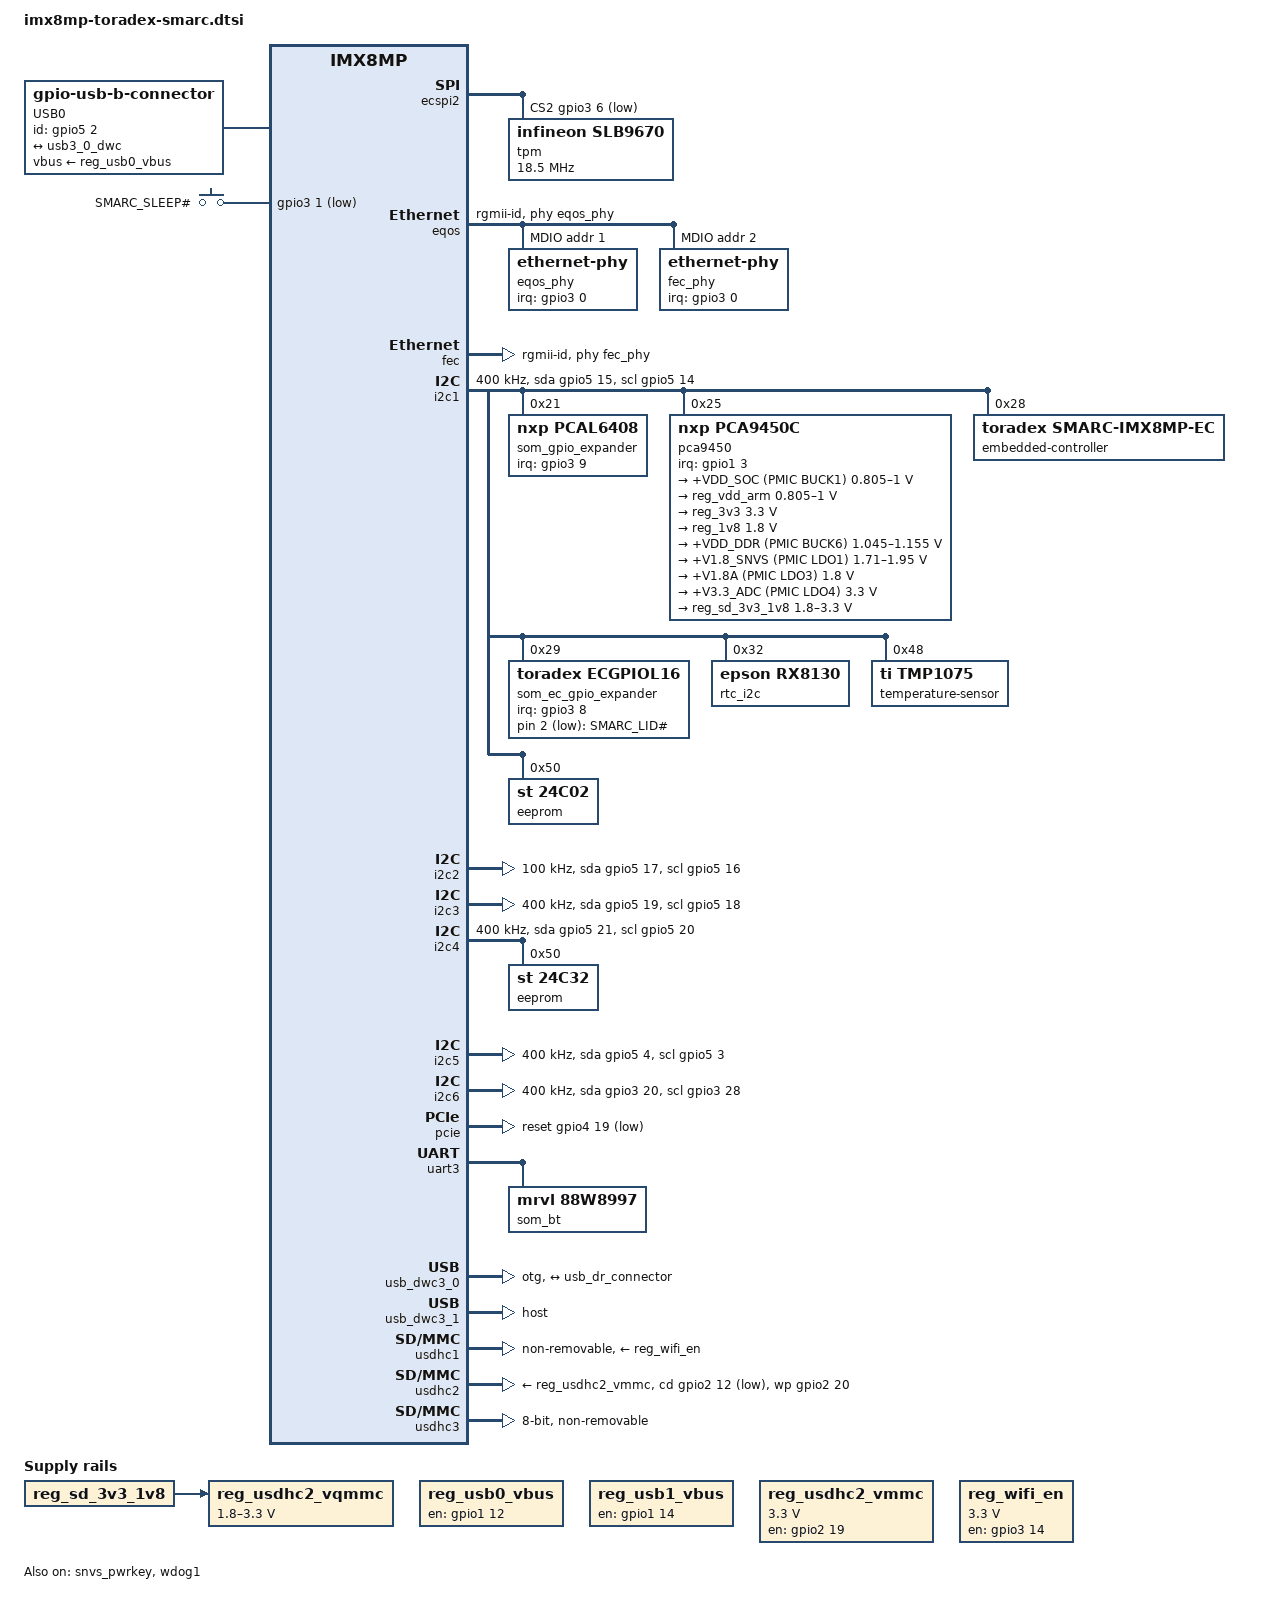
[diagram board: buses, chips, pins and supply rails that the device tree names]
// SPDX-License-Identifier: GPL-2.0-or-later OR MIT
/* Copyright (C) 2025 Toradex */

#include <dt-bindings/phy/phy-imx8-pcie.h>
#include <dt-bindings/net/ti-dp83867.h>
#include "imx8mp.dtsi"

/ {
	aliases {
		can0 = &flexcan2;
		can1 = &flexcan1;
		ethernet0 = &eqos;
		ethernet1 = &fec;
		mmc0 = &usdhc3;
		mmc1 = &usdhc2;
		mmc2 = &usdhc1;
		rtc0 = &rtc_i2c;
		rtc1 = &snvs_rtc;
		serial0 = &uart1;
		serial1 = &uart4;
		serial2 = &uart2;
		serial3 = &uart3;
	};

	chosen {
		stdout-path = &uart4;
	};

	connector {
		compatible = "gpio-usb-b-connector", "usb-b-connector";
		pinctrl-names = "default";
		pinctrl-0 = <&pinctrl_usb0_id>;
		id-gpios = <&gpio5 2 GPIO_ACTIVE_HIGH>;
		label = "USB0";
		self-powered;
		type = "micro";
		vbus-supply = <&reg_usb0_vbus>;

		port {
			usb_dr_connector: endpoint {
				remote-endpoint = <&usb3_0_dwc>;
			};
		};
	};

	gpio-keys {
		compatible = "gpio-keys";
		pinctrl-names = "default";
		pinctrl-0 = <&pinctrl_sleep>;

		smarc_key_sleep: key-sleep {
			gpios = <&gpio3 1 GPIO_ACTIVE_LOW>;
			label = "SMARC_SLEEP#";
			wakeup-source;
			linux,code = <KEY_SLEEP>;
		};

		smarc_switch_lid: switch-lid {
			gpios = <&som_ec_gpio_expander 2 GPIO_ACTIVE_LOW>;
			label = "SMARC_LID#";
			linux,code = <SW_LID>;
			linux,input-type = <EV_SW>;
		};
	};

	reg_usb0_vbus: regulator-usb0-vbus {
		compatible = "regulator-fixed";
		pinctrl-names = "default";
		pinctrl-0 = <&pinctrl_usb0_en_oc>;
		gpios = <&gpio1 12 GPIO_ACTIVE_HIGH>;
		enable-active-high;
		regulator-name = "USB0_EN_OC#";
	};

	reg_usb1_vbus: regulator-usb1-vbus {
		compatible = "regulator-fixed";
		pinctrl-names = "default";
		pinctrl-0 = <&pinctrl_usb1_en_oc>;
		gpios = <&gpio1 14 GPIO_ACTIVE_HIGH>;
		enable-active-high;
		regulator-name = "USB2_EN_OC#";
	};

	reg_usdhc2_vmmc: regulator-usdhc2-vmmc {
		compatible = "regulator-fixed";
		pinctrl-names = "default";
		pinctrl-0 = <&pinctrl_usdhc2_pwr_en>;
		gpios = <&gpio2 19 GPIO_ACTIVE_HIGH>;
		enable-active-high;
		off-on-delay-us = <100000>;
		regulator-max-microvolt = <3300000>;
		regulator-min-microvolt = <3300000>;
		regulator-name = "3V3_SD";
		startup-delay-us = <20000>;
	};

	reg_usdhc2_vqmmc: regulator-usdhc2-vqmmc {
		compatible = "regulator-gpio";
		pinctrl-names = "default";
		pinctrl-0 = <&pinctrl_usdhc2_vsel>;
		gpios = <&gpio1 4 GPIO_ACTIVE_HIGH>;
		regulator-max-microvolt = <3300000>;
		regulator-min-microvolt = <1800000>;
		states = <1800000 0x1>,
			 <3300000 0x0>;
		regulator-name = "PMIC_USDHC_VSELECT";
		vin-supply = <&reg_sd_3v3_1v8>;
	};

	reg_wifi_en: regulator-wifi-en {
		compatible = "regulator-fixed";
		pinctrl-names = "default";
		pinctrl-0 = <&pinctrl_wifi_pwr_en>;
		gpios = <&gpio3 14 GPIO_ACTIVE_HIGH>;
		enable-active-high;
		regulator-max-microvolt = <3300000>;
		regulator-min-microvolt = <3300000>;
		regulator-name = "CTRL_EN_WIFI";
		startup-delay-us = <2000>;
	};

	reserved-memory {
		linux,cma {
			size = <0 0x20000000>;
			alloc-ranges = <0 0x40000000 0 0x80000000>;
		};
	};

	sound_hdmi: sound-hdmi {
		compatible = "fsl,imx-audio-hdmi";
		model = "audio-hdmi";
		audio-cpu = <&aud2htx>;
		hdmi-out;
		status = "disabled";
	};
};

&A53_0 {
	cpu-supply = <&reg_vdd_arm>;
};

&A53_1 {
	cpu-supply = <&reg_vdd_arm>;
};

&A53_2 {
	cpu-supply = <&reg_vdd_arm>;
};

&A53_3 {
	cpu-supply = <&reg_vdd_arm>;
};

/* SMARC SPI0 */
&ecspi1 {
	pinctrl-names = "default";
	pinctrl-0 = <&pinctrl_ecspi1>;
	cs-gpios = <&gpio5 9 GPIO_ACTIVE_LOW>, <&gpio4 28 GPIO_ACTIVE_LOW>;
};

/* SMARC SPI1 */
&ecspi2 {
	pinctrl-names = "default";
	pinctrl-0 = <&pinctrl_ecspi2>, <&pinctrl_tpm_cs>;
	cs-gpios = <&gpio5 13 GPIO_ACTIVE_LOW>,
		   <&gpio4 3 GPIO_ACTIVE_LOW>,
		   <&gpio3 6 GPIO_ACTIVE_LOW>;
	status = "okay";

	tpm@2 {
		compatible = "infineon,slb9670", "tcg,tpm_tis-spi";
		reg = <2>;
		spi-max-frequency = <18500000>;
	};
};

/* SMARC GBE0 */
&eqos {
	pinctrl-names = "default";
	pinctrl-0 = <&pinctrl_eqos>,
		    <&pinctrl_eth_mdio>,
		    <&pinctrl_eqos_1588_event>;
	phy-handle = <&eqos_phy>;
	phy-mode = "rgmii-id";
	snps,force_thresh_dma_mode;
	snps,mtl-rx-config = <&mtl_rx_setup>;
	snps,mtl-tx-config = <&mtl_tx_setup>;

	mdio: mdio {
		compatible = "snps,dwmac-mdio";
		#address-cells = <1>;
		#size-cells = <0>;
	};

	mtl_rx_setup: rx-queues-config {
		snps,rx-queues-to-use = <5>;

		queue0 {
			snps,dcb-algorithm;
			snps,priority = <0x1>;
			snps,map-to-dma-channel = <0>;
		};

		queue1 {
			snps,dcb-algorithm;
			snps,priority = <0x2>;
			snps,map-to-dma-channel = <1>;
		};

		queue2 {
			snps,dcb-algorithm;
			snps,priority = <0x4>;
			snps,map-to-dma-channel = <2>;
		};

		queue3 {
			snps,dcb-algorithm;
			snps,priority = <0x8>;
			snps,map-to-dma-channel = <3>;
		};

		queue4 {
			snps,dcb-algorithm;
			snps,priority = <0xf0>;
			snps,map-to-dma-channel = <4>;
		};
	};

	mtl_tx_setup: tx-queues-config {
		snps,tx-queues-to-use = <5>;

		queue0 {
			snps,dcb-algorithm;
			snps,priority = <0x1>;
		};

		queue1 {
			snps,dcb-algorithm;
			snps,priority = <0x2>;
		};

		queue2 {
			snps,dcb-algorithm;
			snps,priority = <0x4>;
		};

		queue3 {
			snps,dcb-algorithm;
			snps,priority = <0x8>;
		};

		queue4 {
			snps,dcb-algorithm;
			snps,priority = <0xf0>;
		};
	};
};

/* SMARC GBE1 */
&fec {
	pinctrl-names = "default";
	pinctrl-0 = <&pinctrl_fec>, <&pinctrl_fec_1588_event>;
	phy-handle = <&fec_phy>;
	phy-mode = "rgmii-id";
	fsl,magic-packet;
};

/* SMARC CAN1 */
&flexcan1 {
	pinctrl-names = "default";
	pinctrl-0 = <&pinctrl_flexcan1>;
};

/* SMARC CAN0 */
&flexcan2 {
	pinctrl-names = "default";
	pinctrl-0 = <&pinctrl_flexcan2>;
};

&gpio1 {
	gpio-line-names = "SMARC_GPIO7", /* 0 */
			  "SMARC_GPIO8",
			  "",
			  "PMIC_INT#",
			  "PMIC_USDHC_VSELECT",
			  "SMARC_GPIO9",
			  "SMARC_GPIO10",
			  "SMARC_GPIO11",
			  "SMARC_GPIO12",
			  "",
			  "SMARC_GPIO5", /* 10 */
			  "",
			  "SMARC_USB0_EN_OC#",
			  "SMARC_GPIO13",
			  "SMARC_USB2_EN_OC#";
};

&gpio2 {
	gpio-line-names = "", /* 0 */
			  "",
			  "",
			  "",
			  "",
			  "",
			  "",
			  "",
			  "",
			  "",
			  "", /* 10 */
			  "",
			  "SMARC_SDIO_CD#",
			  "",
			  "",
			  "",
			  "",
			  "",
			  "",
			  "SMARC_SDIO_PWR_EN",
			  "SMARC_SDIO_WP"; /* 20 */
};

&gpio3 {
	pinctrl-names = "default";
	pinctrl-0 = <&pinctrl_lvds_dsi_sel>;
	gpio-line-names = "ETH_0_INT#", /* 0 */
			  "SLEEP#",
			  "",
			  "",
			  "",
			  "",
			  "TPM_CS#",
			  "LVDS_DSI_SEL",
			  "MCU_INT#",
			  "GPIO_EX_INT#",
			  "", /* 10 */
			  "",
			  "",
			  "",
			  "",
			  "",
			  "SMARC_SMB_ALERT#",
			  "",
			  "",
			  "",
			  "SMARC_I2C_PM_DAT", /* 20 */
			  "",
			  "",
			  "",
			  "",
			  "",
			  "",
			  "",
			  "SMARC_I2C_PM_CK";
};

&gpio4 {
	gpio-line-names = "SMARC_PCIE_WAKE#", /* 0 */
			  "",
			  "",
			  "SMARC_SPI1_CS1#",
			  "",
			  "",
			  "",
			  "",
			  "",
			  "",
			  "", /* 10 */
			  "",
			  "",
			  "",
			  "",
			  "",
			  "",
			  "",
			  "SMARC_GPIO4",
			  "SMARC_PCIE_A_RST#",
			  "", /* 20 */
			  "",
			  "",
			  "",
			  "",
			  "",
			  "",
			  "",
			  "SMARC_SPI0_CS1#",
			  "SMARC_GPIO6";
};

&gpio5 {
	gpio-line-names = "", /* 0 */
			  "",
			  "SMARC_USB0_OTG_ID",
			  "SMARC_I2C_CAM1_CK",
			  "SMARC_I2C_CAM1_DAT",
			  "",
			  "",
			  "",
			  "",
			  "SMARC_SPI0_CS0#",
			  "", /* 10 */
			  "",
			  "",
			  "SMARC_SPI1_CS0#",
			  "CTRL_I2C_SCL",
			  "CTRL_I2C_SDA",
			  "SMARC_I2C_LCD_CK",
			  "SMARC_I2C_LCD_DAT",
			  "SMARC_I2C_CAM0_CK",
			  "SMARC_I2C_CAM0_DAT",
			  "SMARC_I2C_GP_CK", /* 20 */
			  "SMARC_I2C_GP_DAT";
};

/* SMARC HDMI */
&hdmi_tx {
	pinctrl-names = "default";
	pinctrl-0 = <&pinctrl_hdmi>;
};

/* On-module I2C */
&i2c1 {
	pinctrl-names = "default", "gpio";
	pinctrl-0 = <&pinctrl_i2c1>;
	pinctrl-1 = <&pinctrl_i2c1_gpio>;
	clock-frequency = <400000>;
	scl-gpios = <&gpio5 14 (GPIO_ACTIVE_HIGH | GPIO_OPEN_DRAIN)>;
	sda-gpios = <&gpio5 15 (GPIO_ACTIVE_HIGH | GPIO_OPEN_DRAIN)>;
	single-master;
	status = "okay";

	som_gpio_expander: gpio@21 {
		compatible = "nxp,pcal6408";
		reg = <0x21>;
		pinctrl-names = "default";
		pinctrl-0 = <&pinctrl_pcal6408>;
		#interrupt-cells = <2>;
		interrupt-controller;
		interrupt-parent = <&gpio3>;
		interrupts = <9 IRQ_TYPE_LEVEL_LOW>;
		#gpio-cells = <2>;
		gpio-controller;
		gpio-line-names =
			"SMARC_GPIO0",
			"SMARC_GPIO1",
			"SMARC_GPIO2",
			"SMARC_GPIO3",
			"SMARC_LCD0_VDD_EN",
			"SMARC_LCD0_BKLT_EN",
			"SMARC_LCD1_VDD_EN",
			"SMARC_LCD1_BKLT_EN";
	};

	pca9450: pmic@25 {
		compatible = "nxp,pca9450c";
		reg = <0x25>;
		pinctrl-names = "default";
		pinctrl-0 = <&pinctrl_pmic>;
		interrupt-parent = <&gpio1>;
		interrupts = <3 IRQ_TYPE_LEVEL_LOW>;

		regulators {
			BUCK1 {
				regulator-always-on;
				regulator-boot-on;
				regulator-max-microvolt = <1000000>;
				regulator-min-microvolt = <805000>;
				regulator-name = "+VDD_SOC (PMIC BUCK1)";
				regulator-ramp-delay = <3125>;
			};

			reg_vdd_arm: BUCK2 {
				regulator-always-on;
				regulator-boot-on;
				regulator-max-microvolt = <1000000>;
				regulator-min-microvolt = <805000>;
				regulator-name = "+VDD_ARM (PMIC BUCK2)";
				regulator-ramp-delay = <3125>;
				nxp,dvs-run-voltage = <950000>;
				nxp,dvs-standby-voltage = <850000>;
			};

			reg_3v3: BUCK4 {
				regulator-always-on;
				regulator-boot-on;
				regulator-max-microvolt = <3300000>;
				regulator-min-microvolt = <3300000>;
				regulator-name = "+V3.3 (PMIC BUCK4)";
			};

			reg_1v8: BUCK5 {
				regulator-always-on;
				regulator-boot-on;
				regulator-max-microvolt = <1800000>;
				regulator-min-microvolt = <1800000>;
				regulator-name = "+V1.8 (PMIC BUCK5)";
			};

			BUCK6 {
				regulator-always-on;
				regulator-boot-on;
				regulator-max-microvolt = <1155000>;
				regulator-min-microvolt = <1045000>;
				regulator-name = "+VDD_DDR (PMIC BUCK6)";
			};

			LDO1 {
				regulator-always-on;
				regulator-boot-on;
				regulator-max-microvolt = <1950000>;
				regulator-min-microvolt = <1710000>;
				regulator-name = "+V1.8_SNVS (PMIC LDO1)";
			};

			LDO3 {
				regulator-always-on;
				regulator-boot-on;
				regulator-max-microvolt = <1800000>;
				regulator-min-microvolt = <1800000>;
				regulator-name = "+V1.8A (PMIC LDO3)";
			};

			LDO4 {
				regulator-always-on;
				regulator-boot-on;
				regulator-max-microvolt = <3300000>;
				regulator-min-microvolt = <3300000>;
				regulator-name = "+V3.3_ADC (PMIC LDO4)";
			};

			reg_sd_3v3_1v8: LDO5 {
				regulator-max-microvolt = <3300000>;
				regulator-min-microvolt = <1800000>;
				regulator-name = "+V3.3_1.8_SD (PMIC LDO5)";
			};
		};
	};

	embedded-controller@28 {
		compatible = "toradex,smarc-imx8mp-ec", "toradex,smarc-ec";
		reg = <0x28>;
	};

	som_ec_gpio_expander: gpio@29 {
		compatible = "toradex,ecgpiol16", "nxp,pcal6416";
		reg = <0x29>;
		pinctrl-names = "default";
		pinctrl-0 = <&pinctrl_mcu_int>;
		#interrupt-cells = <2>;
		interrupt-controller;
		interrupt-parent = <&gpio3>;
		interrupts = <8 IRQ_TYPE_LEVEL_LOW>;
		#gpio-cells = <2>;
		gpio-controller;
		gpio-line-names =
			"SMARC_CHARGER_PRSNT#",
			"SMARC_CHARGING#",
			"SMARC_LID#",
			"SMARC_BATLOW#";
	};

	rtc_i2c: rtc@32 {
		compatible = "epson,rx8130";
		reg = <0x32>;
	};

	temperature-sensor@48 {
		compatible = "ti,tmp1075";
		reg = <0x48>;
	};

	eeprom@50 {
		compatible = "st,24c02", "atmel,24c02";
		reg = <0x50>;
		pagesize = <16>;
	};
};

/* SMARC I2C_LCD */
&i2c2 {
	pinctrl-names = "default", "gpio";
	pinctrl-0 = <&pinctrl_i2c2>;
	pinctrl-1 = <&pinctrl_i2c2_gpio>;
	clock-frequency = <100000>;
	scl-gpios = <&gpio5 16 (GPIO_ACTIVE_HIGH | GPIO_OPEN_DRAIN)>;
	sda-gpios = <&gpio5 17 (GPIO_ACTIVE_HIGH | GPIO_OPEN_DRAIN)>;
	single-master;
};

/* SMARC I2C_CAM0 */
&i2c3 {
	pinctrl-names = "default", "gpio";
	pinctrl-0 = <&pinctrl_i2c3>;
	pinctrl-1 = <&pinctrl_i2c3_gpio>;
	clock-frequency = <400000>;
	scl-gpios = <&gpio5 18 (GPIO_ACTIVE_HIGH | GPIO_OPEN_DRAIN)>;
	sda-gpios = <&gpio5 19 (GPIO_ACTIVE_HIGH | GPIO_OPEN_DRAIN)>;
	single-master;
};

/* SMARC I2C_GP */
&i2c4 {
	pinctrl-names = "default", "gpio";
	pinctrl-0 = <&pinctrl_i2c4>;
	pinctrl-1 = <&pinctrl_i2c4_gpio>;
	clock-frequency = <400000>;
	scl-gpios = <&gpio5 20 (GPIO_ACTIVE_HIGH | GPIO_OPEN_DRAIN)>;
	sda-gpios = <&gpio5 21 (GPIO_ACTIVE_HIGH | GPIO_OPEN_DRAIN)>;
	single-master;
	status = "okay";

	eeprom@50 {
		compatible = "st,24c32", "atmel,24c32";
		reg = <0x50>;
		pagesize = <32>;
	};
};

/* SMARC I2C_CAM1 */
&i2c5 {
	pinctrl-names = "default", "gpio";
	pinctrl-0 = <&pinctrl_i2c5>;
	pinctrl-1 = <&pinctrl_i2c5_gpio>;
	clock-frequency = <400000>;
	scl-gpios = <&gpio5 3 (GPIO_ACTIVE_HIGH | GPIO_OPEN_DRAIN)>;
	sda-gpios = <&gpio5 4 (GPIO_ACTIVE_HIGH | GPIO_OPEN_DRAIN)>;
	single-master;
};

/* SMARC I2C_PM */
&i2c6 {
	pinctrl-names = "default", "gpio";
	pinctrl-0 = <&pinctrl_i2c6>;
	pinctrl-1 = <&pinctrl_i2c6_gpio>;
	clock-frequency = <400000>;
	scl-gpios = <&gpio3 28 (GPIO_ACTIVE_HIGH | GPIO_OPEN_DRAIN)>;
	sda-gpios = <&gpio3 20 (GPIO_ACTIVE_HIGH | GPIO_OPEN_DRAIN)>;
	single-master;
};

&mdio {
	eqos_phy: ethernet-phy@1 {
		reg = <1>;
		interrupt-parent = <&gpio3>;
		interrupts = <0 IRQ_TYPE_LEVEL_LOW>;
		ti,rx-internal-delay = <DP83867_RGMIIDCTL_2_00_NS>;
		ti,tx-internal-delay = <DP83867_RGMIIDCTL_2_00_NS>;
	};

	fec_phy: ethernet-phy@2 {
		reg = <2>;
		interrupt-parent = <&gpio3>;
		interrupts = <0 IRQ_TYPE_LEVEL_LOW>;
		ti,rx-internal-delay = <DP83867_RGMIIDCTL_2_00_NS>;
		ti,tx-internal-delay = <DP83867_RGMIIDCTL_2_00_NS>;
	};
};

/* SMARC PCIE_A */
&pcie {
	pinctrl-names = "default";
	pinctrl-0 = <&pinctrl_pcie>;
	reset-gpios = <&gpio4 19 GPIO_ACTIVE_LOW>;
};

&pcie_phy {
	clocks = <&hsio_blk_ctrl>;
	clock-names = "ref";
	fsl,clkreq-unsupported;
	fsl,refclk-pad-mode = <IMX8_PCIE_REFCLK_PAD_OUTPUT>;
};

/* SMARC LCD1_BKLT_PWM */
&pwm1 {
	pinctrl-names = "default";
	pinctrl-0 = <&pinctrl_lcd1_bklt_pwm1>;
};

/* SMARC LCD0_BKLT_PWM */
&pwm2 {
	pinctrl-names = "default";
	pinctrl-0 = <&pinctrl_lcd0_bklt_pwm2>;
};

/* SMARC GPIO5 as PWM */
&pwm3 {
	pinctrl-names = "default";
	pinctrl-0 = <&pinctrl_gpio5_pwm>;
};

&snvs_pwrkey {
	status = "okay";
};

/* SMARC SER0 */
&uart1 {
	pinctrl-names = "default";
	pinctrl-0 = <&pinctrl_uart1>;
	uart-has-rtscts;
};

/* SMARC SER2 */
&uart2 {
	pinctrl-names = "default";
	pinctrl-0 = <&pinctrl_uart2>;
	uart-has-rtscts;
};

/* On-module Bluetooth, optional SMARC SER3 */
&uart3 {
	pinctrl-names = "default";
	pinctrl-0 = <&pinctrl_bt_uart>;
	uart-has-rtscts;
	status = "okay";

	som_bt: bluetooth {
		compatible = "mrvl,88w8997";
		max-speed = <921600>;
	};
};

/* SMARC SER1, used as the Linux Console */
&uart4 {
	pinctrl-names = "default";
	pinctrl-0 = <&pinctrl_uart4>;
};

/* SMARC USB0 */
&usb3_0 {
	fsl,disable-port-power-control;
};

/* SMARC USB1..4 */
&usb3_1 {
	fsl,disable-port-power-control;
};

&usb3_phy1 {
	vbus-supply = <&reg_usb1_vbus>;
};

&usb_dwc3_0 {
	adp-disable;
	dr_mode = "otg";
	hnp-disable;
	maximum-speed = "high-speed";
	srp-disable;
	usb-role-switch;

	port {
		usb3_0_dwc: endpoint {
			remote-endpoint = <&usb_dr_connector>;
		};
	};
};

&usb_dwc3_1 {
	dr_mode = "host";
};

/* On-module Wi-Fi */
&usdhc1 {
	pinctrl-names = "default", "state_100mhz", "state_200mhz";
	pinctrl-0 = <&pinctrl_usdhc1>;
	pinctrl-1 = <&pinctrl_usdhc1_100mhz>;
	pinctrl-2 = <&pinctrl_usdhc1_200mhz>;
	keep-power-in-suspend;
	non-removable;
	vmmc-supply = <&reg_wifi_en>;
	status = "okay";
};

/* SMARC SDIO */
&usdhc2 {
	pinctrl-names = "default", "state_100mhz", "state_200mhz", "sleep";
	pinctrl-0 = <&pinctrl_usdhc2>,
		    <&pinctrl_usdhc2_cd>,
		    <&pinctrl_usdhc2_wp>;
	pinctrl-1 = <&pinctrl_usdhc2_100mhz>,
		    <&pinctrl_usdhc2_cd>,
		    <&pinctrl_usdhc2_wp>;
	pinctrl-2 = <&pinctrl_usdhc2_200mhz>,
		    <&pinctrl_usdhc2_cd>,
		    <&pinctrl_usdhc2_wp>;
	pinctrl-3 = <&pinctrl_usdhc2_sleep>,
		    <&pinctrl_usdhc2_cd_sleep>,
		    <&pinctrl_usdhc2_wp>;
	assigned-clocks = <&clk IMX8MP_CLK_USDHC2>;
	assigned-clock-rates = <400000000>;
	cd-gpios = <&gpio2 12 GPIO_ACTIVE_LOW>;
	vmmc-supply = <&reg_usdhc2_vmmc>;
	vqmmc-supply = <&reg_usdhc2_vqmmc>;
	wp-gpios = <&gpio2 20 GPIO_ACTIVE_HIGH>;
};

/* On-module eMMC */
&usdhc3 {
	pinctrl-names = "default", "state_100mhz", "state_200mhz";
	pinctrl-0 = <&pinctrl_usdhc3>;
	pinctrl-1 = <&pinctrl_usdhc3_100mhz>;
	pinctrl-2 = <&pinctrl_usdhc3_200mhz>;
	assigned-clocks = <&clk IMX8MP_CLK_USDHC3_ROOT>;
	assigned-clock-rates = <400000000>;
	bus-width = <8>;
	non-removable;
	status = "okay";
};

&wdog1 {
	pinctrl-names = "default";
	pinctrl-0 = <&pinctrl_wdog>;
	fsl,ext-reset-output;
	status = "okay";
};

&iomuxc {
	/* On-module Bluetooth */
	pinctrl_bt_uart: btuartgrp {
		fsl,pins = <MX8MP_IOMUXC_SD1_DATA6__UART3_DCE_TX	0x1c4>, /* WiFi_UART_TXD */
			   <MX8MP_IOMUXC_SD1_DATA7__UART3_DCE_RX	0x1c4>, /* WiFi_UART_RXD */
			   <MX8MP_IOMUXC_SD1_STROBE__UART3_DCE_CTS	0x1c4>, /* WiFi_UART_RTS */
			   <MX8MP_IOMUXC_SD1_RESET_B__UART3_DCE_RTS	0x1c4>; /* WiFi_UART_CTS */
	};

	/* SMARC CAM_MCK */
	pinctrl_csi_mclk: csimclkgrp {
		fsl,pins = <MX8MP_IOMUXC_GPIO1_IO15__CCM_CLKO2	0x16>; /* SMARC S6 - CAM_MCK  */
	};

	/* SMARC SPI0 */
	pinctrl_ecspi1: ecspi1grp {
		fsl,pins = <MX8MP_IOMUXC_ECSPI1_MISO__ECSPI1_MISO	0x1c4>, /* SMARC P45 - SPI0_DIN */
			   <MX8MP_IOMUXC_ECSPI1_MOSI__ECSPI1_MOSI	0x4>,   /* SMARC P46 - SPI0_DO */
			   <MX8MP_IOMUXC_ECSPI1_SCLK__ECSPI1_SCLK	0x4>,   /* SMARC P44 - SPI0_CK */
			   <MX8MP_IOMUXC_ECSPI1_SS0__GPIO5_IO09		0x1c4>, /* SMARC P43 - SPI0_CS0# */
			   <MX8MP_IOMUXC_SAI3_RXFS__GPIO4_IO28		0x1c4>; /* SMARC P31 - SPI0_CS1# */
	};

	/* SMARC SPI1 */
	pinctrl_ecspi2: ecspi2grp {
		fsl,pins = <MX8MP_IOMUXC_ECSPI2_MISO__ECSPI2_MISO	0x1c4>, /* SMARC P56 - SPI1_DIN */
			   <MX8MP_IOMUXC_ECSPI2_MOSI__ECSPI2_MOSI	0x4>,   /* SMARC P57 - SPI1_DO */
			   <MX8MP_IOMUXC_ECSPI2_SCLK__ECSPI2_SCLK	0x4>,   /* SMARC P58 - SPI1_CK */
			   <MX8MP_IOMUXC_ECSPI2_SS0__GPIO5_IO13		0x1c4>, /* SMARC P54 - SPI1_CS0# */
			   <MX8MP_IOMUXC_SAI1_RXD1__GPIO4_IO03		0x1c4>; /* SMARC P55 - SPI1_CS1# */
	};

	/* ETH_0 RGMII (On-module PHY) */
	pinctrl_eqos: eqosgrp {
		fsl,pins = <MX8MP_IOMUXC_ENET_RD0__ENET_QOS_RGMII_RD0			0x90>, /* ETH0_RGMII_RXD0 */
			   <MX8MP_IOMUXC_ENET_RD1__ENET_QOS_RGMII_RD1			0x90>, /* ETH0_RGMII_RXD1 */
			   <MX8MP_IOMUXC_ENET_RD2__ENET_QOS_RGMII_RD2			0x90>, /* ETH0_RGMII_RXD2 */
			   <MX8MP_IOMUXC_ENET_RD3__ENET_QOS_RGMII_RD3			0x90>, /* ETH0_RGMII_RXD3 */
			   <MX8MP_IOMUXC_ENET_RXC__CCM_ENET_QOS_CLOCK_GENERATE_RX_CLK	0x90>, /* ETH0_RGMII_RXC */
			   <MX8MP_IOMUXC_ENET_RX_CTL__ENET_QOS_RGMII_RX_CTL		0x90>, /* ETH0_RGMII_RX_CTL */
			   <MX8MP_IOMUXC_ENET_TD0__ENET_QOS_RGMII_TD0			0x16>, /* ETH0_RGMII_TXD0 */
			   <MX8MP_IOMUXC_ENET_TD1__ENET_QOS_RGMII_TD1			0x16>, /* ETH0_RGMII_TXD1 */
			   <MX8MP_IOMUXC_ENET_TD2__ENET_QOS_RGMII_TD2			0x16>, /* ETH0_RGMII_TXD2 */
			   <MX8MP_IOMUXC_ENET_TD3__ENET_QOS_RGMII_TD3			0x16>, /* ETH0_RGMII_TXD3 */
			   <MX8MP_IOMUXC_ENET_TX_CTL__ENET_QOS_RGMII_TX_CTL		0x16>, /* ETH0_RGMII_TX_CTL */
			   <MX8MP_IOMUXC_ENET_TXC__CCM_ENET_QOS_CLOCK_GENERATE_TX_CLK	0x16>; /* ETH0_RGMII_TXC */
	};

	/* SMARC GBE0_SDP */
	pinctrl_eqos_1588_event: eqos1588eventgrp {
		fsl,pins = <MX8MP_IOMUXC_GPIO1_IO09__ENET_QOS_1588_EVENT0_OUT	0x4>; /* SMARC P6 - GBE0_SDP */
	};

	/* ETH_0_MDIO and ETH_0_INT# shared between ETH_PHY0 and ETH_PHY1 */
	pinctrl_eth_mdio: ethmdiogrp {
		fsl,pins = <MX8MP_IOMUXC_ENET_MDC__ENET_QOS_MDC		0x2>,  /* ETH_0_MDC */
			   <MX8MP_IOMUXC_ENET_MDIO__ENET_QOS_MDIO	0x2>,  /* ETH_0_MDIO */
			   <MX8MP_IOMUXC_NAND_ALE__GPIO3_IO00		0x80>; /* ETH_0_INT# */
	};

	/* ETH_1 RGMII (On-module PHY) */
	pinctrl_fec: fecgrp {
		fsl,pins = <MX8MP_IOMUXC_SAI1_RXD4__ENET1_RGMII_RD0	0x90>, /* ETH1_RGMII_RXD0 */
			   <MX8MP_IOMUXC_SAI1_RXD5__ENET1_RGMII_RD1	0x90>, /* ETH1_RGMII_RXD1 */
			   <MX8MP_IOMUXC_SAI1_RXD6__ENET1_RGMII_RD2	0x90>, /* ETH1_RGMII_RXD2 */
			   <MX8MP_IOMUXC_SAI1_RXD7__ENET1_RGMII_RD3	0x90>, /* ETH1_RGMII_RXD3 */
			   <MX8MP_IOMUXC_SAI1_TXC__ENET1_RGMII_RXC	0x90>, /* ETH1_RGMII_RXC */
			   <MX8MP_IOMUXC_SAI1_TXFS__ENET1_RGMII_RX_CTL	0x90>, /* ETH1_RGMII_RX_CTL */
			   <MX8MP_IOMUXC_SAI1_TXD0__ENET1_RGMII_TD0	0x16>, /* ETH1_RGMII_TXD0 */
			   <MX8MP_IOMUXC_SAI1_TXD1__ENET1_RGMII_TD1	0x16>, /* ETH1_RGMII_TXD1 */
			   <MX8MP_IOMUXC_SAI1_TXD2__ENET1_RGMII_TD2	0x16>, /* ETH1_RGMII_TXD2 */
			   <MX8MP_IOMUXC_SAI1_TXD3__ENET1_RGMII_TD3	0x16>, /* ETH1_RGMII_TXD3 */
			   <MX8MP_IOMUXC_SAI1_TXD4__ENET1_RGMII_TX_CTL	0x16>, /* ETH1_RGMII_TX_CTL */
			   <MX8MP_IOMUXC_SAI1_TXD5__ENET1_RGMII_TXC	0x16>; /* ETH1_RGMII_TXC */
	};

	/* SMARC GBE1_SDP */
	pinctrl_fec_1588_event: fec1588eventgrp {
		fsl,pins = <MX8MP_IOMUXC_SAI1_RXC__ENET1_1588_EVENT0_OUT	0x4>; /* SMARC P5 - GBE1_SDP */
	};

	/* SMARC CAN1 */
	pinctrl_flexcan1: flexcan1grp {
		fsl,pins = <MX8MP_IOMUXC_SAI2_TXC__CAN1_RX	0x154>, /* SMARC P146 - CAN1_RX */
			   <MX8MP_IOMUXC_SAI2_RXC__CAN1_TX	0x154>; /* SMARC P145 - CAN1_TX */
	};

	/* SMARC CAN0 */
	pinctrl_flexcan2: flexcan2grp {
		fsl,pins = <MX8MP_IOMUXC_SAI2_MCLK__CAN2_RX	0x154>, /* SMARC P144 - CAN0_RX */
			   <MX8MP_IOMUXC_SAI2_TXD0__CAN2_TX	0x154>; /* SMARC P143 - CAN0_TX */
	};

	/* SMARC GPIO4 */
	pinctrl_gpio4: gpio4grp {
		fsl,pins = <MX8MP_IOMUXC_SAI1_TXD6__GPIO4_IO18	0x144>; /* SMARC P112 - GPIO4 */
	};

	/* SMARC GPIO5 */
	pinctrl_gpio5: gpio5grp {
		fsl,pins = <MX8MP_IOMUXC_GPIO1_IO10__GPIO1_IO10	0x144>; /* SMARC P113 - GPIO5 */
	};

	/* SMARC GPIO5 as PWM */
	pinctrl_gpio5_pwm: gpio5pwmgrp {
		fsl,pins = <MX8MP_IOMUXC_GPIO1_IO10__PWM3_OUT	0x12>; /* SMARC P113 - PWM_OUT */
	};

	/* SMARC GPIO6 */
	pinctrl_gpio6: gpio6grp {
		fsl,pins = <MX8MP_IOMUXC_SAI3_RXC__GPIO4_IO29	0x144>; /* SMARC P114 - GPIO6 */
	};

	/* SMARC GPIO7 */
	pinctrl_gpio7: gpio7grp {
		fsl,pins = <MX8MP_IOMUXC_GPIO1_IO00__GPIO1_IO00	0x144>; /* SMARC P115 - GPIO7 */
	};

	/* SMARC GPIO8 */
	pinctrl_gpio8: gpio8grp {
		fsl,pins = <MX8MP_IOMUXC_GPIO1_IO01__GPIO1_IO01	0x144>; /* SMARC P116 - GPIO8 */
	};

	/* SMARC GPIO9 */
	pinctrl_gpio9: gpio9grp {
		fsl,pins = <MX8MP_IOMUXC_GPIO1_IO05__GPIO1_IO05	0x144>; /* SMARC P117 - GPIO9 */
	};

	/* SMARC GPIO10 */
	pinctrl_gpio10: gpio10grp {
		fsl,pins = <MX8MP_IOMUXC_GPIO1_IO06__GPIO1_IO06	0x144>; /* SMARC P118 - GPIO10 */
	};

	/* SMARC GPIO11 */
	pinctrl_gpio11: gpio11grp {
		fsl,pins = <MX8MP_IOMUXC_GPIO1_IO07__GPIO1_IO07	0x144>; /* SMARC P119 - GPIO11 */
	};

	/* SMARC GPIO12 */
	pinctrl_gpio12: gpio12grp {
		fsl,pins = <MX8MP_IOMUXC_GPIO1_IO08__GPIO1_IO08	0x144>; /* SMARC S142 - GPIO12 */
	};

	/* SMARC GPIO13 */
	pinctrl_gpio13: gpio13grp {
		fsl,pins = <MX8MP_IOMUXC_GPIO1_IO13__GPIO1_IO13	0x144>; /* SMARC S123 - GPIO13 */
	};

	/* SMARC HDMI */
	pinctrl_hdmi: hdmigrp {
		fsl,pins = <MX8MP_IOMUXC_HDMI_DDC_SCL__HDMIMIX_HDMI_SCL	0x400001c6>, /* SMARC P105 - HDMI_CTRL_CK */
			   <MX8MP_IOMUXC_HDMI_DDC_SDA__HDMIMIX_HDMI_SDA	0x400001c6>, /* SMARC P106 - HDMI_CTRL_DAT */
			   <MX8MP_IOMUXC_HDMI_HPD__HDMIMIX_HDMI_HPD	0x180>;      /* SMARC P104 - HDMI_HPD */
	};

	/* On-module I2C */
	pinctrl_i2c1: i2c1grp {
		fsl,pins = <MX8MP_IOMUXC_I2C1_SCL__I2C1_SCL	0x400001c6>, /* CTRL_I2C_SCL */
			   <MX8MP_IOMUXC_I2C1_SDA__I2C1_SDA	0x400001c6>; /* CTRL_I2C_SDA */
	};

	/* On-module I2C as GPIOs */
	pinctrl_i2c1_gpio: i2c1gpiogrp {
		fsl,pins = <MX8MP_IOMUXC_I2C1_SCL__GPIO5_IO14	0x400001c6>, /* CTRL_I2C_SCL */
			   <MX8MP_IOMUXC_I2C1_SDA__GPIO5_IO15	0x400001c6>; /* CTRL_I2C_SDA */
	};

	/* SMARC I2C_LCD */
	pinctrl_i2c2: i2c2grp {
		fsl,pins = <MX8MP_IOMUXC_I2C2_SCL__I2C2_SCL	0x400001c6>, /* SMARC S139 - I2C_LCD_CK */
			   <MX8MP_IOMUXC_I2C2_SDA__I2C2_SDA	0x400001c6>; /* SMARC S140 - I2C_LCD_DAT */
	};

	/* SMARC I2C_LCD as GPIOs */
	pinctrl_i2c2_gpio: i2c2gpiogrp {
		fsl,pins = <MX8MP_IOMUXC_I2C2_SCL__GPIO5_IO16	0x400001c6>, /* SMARC S139 - I2C_LCD_CK */
			   <MX8MP_IOMUXC_I2C2_SDA__GPIO5_IO17	0x400001c6>; /* SMARC S140 - I2C_LCD_DAT */
	};

	/* SMARC I2C_CAM0 */
	pinctrl_i2c3: i2c3grp {
		fsl,pins = <MX8MP_IOMUXC_I2C3_SCL__I2C3_SCL	0x400001c6>, /* SMARC S5 - I2C_CAM0_CK */
			   <MX8MP_IOMUXC_I2C3_SDA__I2C3_SDA	0x400001c6>; /* SMARC S7 - I2C_CAM0_DAT */
	};

	/* SMARC I2C_CAM0 as GPIOs */
	pinctrl_i2c3_gpio: i2c3gpiogrp {
		fsl,pins = <MX8MP_IOMUXC_I2C3_SCL__GPIO5_IO18	0x400001c6>, /* SMARC S5 - I2C_CAM0_CK */
			   <MX8MP_IOMUXC_I2C3_SDA__GPIO5_IO19	0x400001c6>; /* SMARC S7 - I2C_CAM0_DAT */
	};

	/* SMARC I2C_GP */
	pinctrl_i2c4: i2c4grp {
		fsl,pins = <MX8MP_IOMUXC_I2C4_SCL__I2C4_SCL	0x400001c6>, /* SMARC S48 - I2C_GP_CK */
			   <MX8MP_IOMUXC_I2C4_SDA__I2C4_SDA	0x400001c6>; /* SMARC S49 - I2C_GP_DAT */
	};

	/* SMARC I2C_GP as GPIOs */
	pinctrl_i2c4_gpio: i2c4gpiogrp {
		fsl,pins = <MX8MP_IOMUXC_I2C4_SCL__GPIO5_IO20	0x400001c6>, /* SMARC S48 - I2C_GP_CK */
			   <MX8MP_IOMUXC_I2C4_SDA__GPIO5_IO21	0x400001c6>; /* SMARC S49 - I2C_GP_DAT */
	};

	/* SMARC I2C_CAM1 */
	pinctrl_i2c5: i2c5grp {
		fsl,pins = <MX8MP_IOMUXC_SPDIF_RX__I2C5_SDA	0x400001c6>, /* SMARC S2 - I2C_CAM1_DAT  */
			   <MX8MP_IOMUXC_SPDIF_TX__I2C5_SCL	0x400001c6>; /* SMARC S1 - I2C_CAM1_CK  */
	};

	/* SMARC I2C_CAM1 as GPIOs */
	pinctrl_i2c5_gpio: i2c5gpiogrp {
		fsl,pins = <MX8MP_IOMUXC_SPDIF_RX__GPIO5_IO04	0x400001c6>, /* SMARC S2 - I2C_CAM1_DAT  */
			   <MX8MP_IOMUXC_SPDIF_TX__GPIO5_IO03	0x400001c6>; /* SMARC S1 - I2C_CAM1_CK  */
	};

	/* SMARC I2C_PM */
	pinctrl_i2c6: i2c6grp {
		fsl,pins = <MX8MP_IOMUXC_HDMI_CEC__I2C6_SCL	0x400001c6>, /* SMARC P121 - I2C_PM_CK */
			   <MX8MP_IOMUXC_SAI5_RXC__I2C6_SDA	0x400001c6>; /* SMARC P122 - I2C_PM_DAT */
	};

	/* SMARC I2C_PM as GPIOs */
	pinctrl_i2c6_gpio: i2c6gpiogrp {
		fsl,pins = <MX8MP_IOMUXC_HDMI_CEC__GPIO3_IO28	0x400001c6>, /* SMARC P121 - I2C_PM_CK */
			   <MX8MP_IOMUXC_SAI5_RXC__GPIO3_IO20	0x400001c6>; /* SMARC P122 - I2C_PM_DAT */
	};

	pinctrl_lvds_dsi_sel: lvdsdsiselgrp {
		fsl,pins = <MX8MP_IOMUXC_NAND_DATA01__GPIO3_IO07	0x104>; /* LVDS_DSI_SEL */
	};

	pinctrl_mcu_int: mcuintgrp {
		fsl,pins = <MX8MP_IOMUXC_NAND_DATA02__GPIO3_IO08	0x1C0>; /* MCU_INT# */
	};

	/* SMARC LCD1_BKLT_PWM */
	pinctrl_lcd1_bklt_pwm1: pwm1grp {
		fsl,pins = <MX8MP_IOMUXC_SPDIF_EXT_CLK__PWM1_OUT	0x12>; /* SMARC S122 - LCD1_BKLT_PWM */
	};

	/* SMARC LCD0_BKLT_PWM */
	pinctrl_lcd0_bklt_pwm2: pwm2grp {
		fsl,pins = <MX8MP_IOMUXC_GPIO1_IO11__PWM2_OUT	0x12>; /* SMARC S141 - LCD0_BKLT_PWM */
	};

	/* PCAL6408 Interrupt */
	pinctrl_pcal6408: pcal6408intgrp {
		fsl,pins = <MX8MP_IOMUXC_NAND_DATA03__GPIO3_IO09	0x1c4>; /* GPIO_EX_INT# */
	};

	/* SMARC PCIE_A */
	pinctrl_pcie: pciegrp {
		fsl,pins = <MX8MP_IOMUXC_SAI1_RXFS__GPIO4_IO00	0x1c0>, /* SMARC S146 - PCIE_WAKE# */
			   <MX8MP_IOMUXC_SAI1_TXD7__GPIO4_IO19	0x04>;  /* SMARC P75 - PCIE_A_RST# */
	};

	/* PMIC Interrupt */
	pinctrl_pmic: pmicintgrp {
		fsl,pins = <MX8MP_IOMUXC_GPIO1_IO03__GPIO1_IO03	0x1c4>; /* PMIC_INT# */
	};

	/* SMARC I2S0 */
	pinctrl_sai1: sai1grp {
		fsl,pins = <MX8MP_IOMUXC_SAI5_MCLK__AUDIOMIX_SAI1_TX_BCLK	0x94>, /* SMARC S42 - I2S0_CK */
			   <MX8MP_IOMUXC_SAI5_RXD1__AUDIOMIX_SAI1_TX_SYNC	0x94>, /* SMARC S39 - I2S0_LRCLK */
			   <MX8MP_IOMUXC_SAI1_RXD0__AUDIOMIX_SAI1_RX_DATA00	0x94>, /* SMARC S41 - I2S0_SDIN */
			   <MX8MP_IOMUXC_SAI5_RXFS__AUDIOMIX_SAI1_TX_DATA00	0x94>; /* SMARC S40 - I2S0_SDOUT */
	};

	/* SMARC AUDIO_MCK */
	pinctrl_sai1_mclk: sai1mclkgrp {
		fsl,pins = <MX8MP_IOMUXC_SAI1_MCLK__AUDIOMIX_SAI1_MCLK	0x96>; /* SMARC S38 - AUDIO_MCK */
	};

	/* SMARC I2S2 */
	pinctrl_sai3: sai3grp {
		fsl,pins = <MX8MP_IOMUXC_SAI3_RXD__AUDIOMIX_SAI3_RX_DATA00	0x94>, /* SMARC S52 - I2S2_SDIN */
			   <MX8MP_IOMUXC_SAI3_TXC__AUDIOMIX_SAI3_TX_BCLK	0x94>, /* SMARC S53 - I2S2_CK */
			   <MX8MP_IOMUXC_SAI3_TXD__AUDIOMIX_SAI3_TX_DATA00	0x94>, /* SMARC S51 - I2S2_SDOUT */
			   <MX8MP_IOMUXC_SAI3_TXFS__AUDIOMIX_SAI3_TX_SYNC	0x94>; /* SMARC S50 - I2S2_LRCLK */
	};

	/* SMARC SLEEP# */
	pinctrl_sleep: sleepgrp {
		fsl,pins = <MX8MP_IOMUXC_NAND_CE0_B__GPIO3_IO01	0x1C0>; /* SMARC S149 - SLEEP# */
	};

	/* SMARC SMB_ALERT# */
	pinctrl_smb_alert: smbalertgrp {
		fsl,pins = <MX8MP_IOMUXC_NAND_READY_B__GPIO3_IO16	0x1C0>; /* SMARC P1 - SMB_ALERT# */
	};

	/* TPM_CS# */
	pinctrl_tpm_cs: tpmcsgrp {
		fsl,pins = <MX8MP_IOMUXC_NAND_DATA00__GPIO3_IO06	0x82>; /* TPM_CS# */
	};

	/* WIFI_BT_WKUP_HOST/TPM_INT# */
	pinctrl_tpm_irq_wifi_bt_wkup: tpmirq-wifibtwkupgrp {
		fsl,pins = <MX8MP_IOMUXC_SAI1_RXD2__GPIO4_IO04	0x16>; /* WIFI_BT_WKUP_HOST/TPM_INT# */
	};

	/* SMARC SER0 */
	pinctrl_uart1: uart1grp {
		fsl,pins = <MX8MP_IOMUXC_SAI2_RXD0__UART1_DCE_RTS	0x1c4>, /* SMARC P132 - SER2_CTS */
			   <MX8MP_IOMUXC_SAI2_TXFS__UART1_DCE_CTS	0x1c4>, /* SMARC P131 - SER2_RTS */
			   <MX8MP_IOMUXC_UART1_RXD__UART1_DCE_RX	0x1c4>, /* SMARC P130 - SER2_RX */
			   <MX8MP_IOMUXC_UART1_TXD__UART1_DCE_TX	0x1c4>; /* SMARC P139 - SER2_TX */
	};

	/* SMARC SER2 */
	pinctrl_uart2: uart2grp {
		fsl,pins = <MX8MP_IOMUXC_SD1_DATA4__UART2_DCE_RTS	0x1c4>, /* SMARC P139 - SER2_CTS */
			   <MX8MP_IOMUXC_SD1_DATA5__UART2_DCE_CTS	0x1c4>, /* SMARC P138 - SER2_RTS */
			   <MX8MP_IOMUXC_UART2_RXD__UART2_DCE_RX	0x1c4>, /* SMARC P137 - SER2_RX */
			   <MX8MP_IOMUXC_UART2_TXD__UART2_DCE_TX	0x1c4>; /* SMARC P136 - SER2_TX */
	};

	/* SMARC SER3 */
	pinctrl_uart3: uart3grp {
		fsl,pins = <MX8MP_IOMUXC_UART3_RXD__UART3_DCE_RX	0x1c4>, /* SMARC P141 - SER3_RX */
			   <MX8MP_IOMUXC_UART3_TXD__UART3_DCE_TX	0x1c4>; /* SMARC P140 - SER3_TX */
	};

	/* SMARC SER1 */
	pinctrl_uart4: uart4grp {
		fsl,pins = <MX8MP_IOMUXC_UART4_RXD__UART4_DCE_RX	0x1c4>, /* SMARC P135 - SER1_RX */
			   <MX8MP_IOMUXC_UART4_TXD__UART4_DCE_TX	0x1c4>; /* SMARC P134 - SER1_TX */
	};

	/* SMARC USB0_OTG_ID */
	pinctrl_usb0_id: usb0idgrp {
		fsl,pins = <MX8MP_IOMUXC_SAI3_MCLK__GPIO5_IO02	0x1c4>; /* SMARC P64 - USB0_OTG_ID */
	};

	/* SMARC USB0_EN_OC# */
	pinctrl_usb0_en_oc: usb0enocgrp {
		fsl,pins = <MX8MP_IOMUXC_GPIO1_IO12__GPIO1_IO12	0x04>; /* SMARC P62 - USB0_EN_OC# */
	};

	/* On module USB Hub VBUS, or SMARC USB2_EN_OC# depending on assembling */
	pinctrl_usb1_en_oc: usb1enocgrp {
		fsl,pins = <MX8MP_IOMUXC_GPIO1_IO14__GPIO1_IO14	0x04>; /* SMARC P71 - USB2_EN_OC# */
	};

	/* On-module Wi-Fi */
	pinctrl_usdhc1: usdhc1grp {
		fsl,pins = <MX8MP_IOMUXC_SD1_CLK__USDHC1_CLK		0x190>, /* WiFi_SDIO_CLK */
			   <MX8MP_IOMUXC_SD1_CMD__USDHC1_CMD		0x1d0>, /* WiFi_SDIO_CMD */
			   <MX8MP_IOMUXC_SD1_DATA0__USDHC1_DATA0	0x1d0>, /* WiFi_SDIO_DATA0 */
			   <MX8MP_IOMUXC_SD1_DATA1__USDHC1_DATA1	0x1d0>, /* WiFi_SDIO_DATA1 */
			   <MX8MP_IOMUXC_SD1_DATA2__USDHC1_DATA2	0x1d0>, /* WiFi_SDIO_DATA2 */
			   <MX8MP_IOMUXC_SD1_DATA3__USDHC1_DATA3	0x1d0>; /* WiFi_SDIO_DATA3 */
	};

	/* On-module Wi-Fi */
	pinctrl_usdhc1_100mhz: usdhc1-100mhzgrp {
		fsl,pins = <MX8MP_IOMUXC_SD1_CLK__USDHC1_CLK		0x194>, /* WiFi_SDIO_CLK */
			   <MX8MP_IOMUXC_SD1_CMD__USDHC1_CMD		0x1d4>, /* WiFi_SDIO_CMD */
			   <MX8MP_IOMUXC_SD1_DATA0__USDHC1_DATA0	0x1d4>, /* WiFi_SDIO_DATA0 */
			   <MX8MP_IOMUXC_SD1_DATA1__USDHC1_DATA1	0x1d4>, /* WiFi_SDIO_DATA1 */
			   <MX8MP_IOMUXC_SD1_DATA2__USDHC1_DATA2	0x1d4>, /* WiFi_SDIO_DATA2 */
			   <MX8MP_IOMUXC_SD1_DATA3__USDHC1_DATA3	0x1d4>; /* WiFi_SDIO_DATA3 */
	};

	/* On-module Wi-Fi */
	pinctrl_usdhc1_200mhz: usdhc1-200mhzgrp {
		fsl,pins = <MX8MP_IOMUXC_SD1_CLK__USDHC1_CLK		0x196>, /* WiFi_SDIO_CLK */
			   <MX8MP_IOMUXC_SD1_CMD__USDHC1_CMD		0x1d6>, /* WiFi_SDIO_CMD */
			   <MX8MP_IOMUXC_SD1_DATA0__USDHC1_DATA0	0x1d6>, /* WiFi_SDIO_DATA0 */
			   <MX8MP_IOMUXC_SD1_DATA1__USDHC1_DATA1	0x1d6>, /* WiFi_SDIO_DATA1 */
			   <MX8MP_IOMUXC_SD1_DATA2__USDHC1_DATA2	0x1d6>, /* WiFi_SDIO_DATA2 */
			   <MX8MP_IOMUXC_SD1_DATA3__USDHC1_DATA3	0x1d6>; /* WiFi_SDIO_DATA3 */
	};

	/* SMARC SDIO */
	pinctrl_usdhc2: usdhc2grp {
		fsl,pins = <MX8MP_IOMUXC_SD2_CLK__USDHC2_CLK		0x190>, /* SMARC P36 - SDIO_CK */
			   <MX8MP_IOMUXC_SD2_CMD__USDHC2_CMD		0x1d0>, /* SMARC P34 - SDIO_CMD */
			   <MX8MP_IOMUXC_SD2_DATA0__USDHC2_DATA0	0x1d0>, /* SMARC P39 - SDIO_DO */
			   <MX8MP_IOMUXC_SD2_DATA1__USDHC2_DATA1	0x1d0>, /* SMARC P40 - SDIO_D1 */
			   <MX8MP_IOMUXC_SD2_DATA2__USDHC2_DATA2	0x1d0>, /* SMARC P41 - SDIO_D2 */
			   <MX8MP_IOMUXC_SD2_DATA3__USDHC2_DATA3	0x1d0>; /* SMARC P42 - SDIO_D3 */
	};

	/* SMARC SDIO 100MHz */
	pinctrl_usdhc2_100mhz: usdhc2-100mhzgrp {
		fsl,pins = <MX8MP_IOMUXC_SD2_CLK__USDHC2_CLK		0x194>, /* SMARC P36 - SDIO_CK */
			   <MX8MP_IOMUXC_SD2_CMD__USDHC2_CMD		0x1d4>, /* SMARC P34 - SDIO_CMD */
			   <MX8MP_IOMUXC_SD2_DATA0__USDHC2_DATA0	0x1d4>, /* SMARC P39 - SDIO_DO */
			   <MX8MP_IOMUXC_SD2_DATA1__USDHC2_DATA1	0x1d4>, /* SMARC P40 - SDIO_D1 */
			   <MX8MP_IOMUXC_SD2_DATA2__USDHC2_DATA2	0x1d4>, /* SMARC P41 - SDIO_D2 */
			   <MX8MP_IOMUXC_SD2_DATA3__USDHC2_DATA3	0x1d4>; /* SMARC P42 - SDIO_D3 */
	};

	/* SMARC SDIO 200MHz */
	pinctrl_usdhc2_200mhz: usdhc2-200mhzgrp {
		fsl,pins = <MX8MP_IOMUXC_SD2_CLK__USDHC2_CLK		0x196>, /* SMARC P36 - SDIO_CK */
			   <MX8MP_IOMUXC_SD2_CMD__USDHC2_CMD		0x1d6>, /* SMARC P34 - SDIO_CMD */
			   <MX8MP_IOMUXC_SD2_DATA0__USDHC2_DATA0	0x1d6>, /* SMARC P39 - SDIO_DO */
			   <MX8MP_IOMUXC_SD2_DATA1__USDHC2_DATA1	0x1d6>, /* SMARC P40 - SDIO_D1 */
			   <MX8MP_IOMUXC_SD2_DATA2__USDHC2_DATA2	0x1d6>, /* SMARC P41 - SDIO_D2 */
			   <MX8MP_IOMUXC_SD2_DATA3__USDHC2_DATA3	0x1d6>; /* SMARC P42 - SDIO_D3 */
	};

	/* SMARC SDIO_CD# */
	pinctrl_usdhc2_cd: usdhc2cdgrp {
		fsl,pins = <MX8MP_IOMUXC_SD2_CD_B__GPIO2_IO12	0x1c4>; /* SMARC P35 - SDIO_CD# */
	};

	/* SMARC SDIO_CD# */
	pinctrl_usdhc2_cd_sleep: usdhc2cdslpgrp {
		fsl,pins = <MX8MP_IOMUXC_SD2_CD_B__GPIO2_IO12	0x0>; /* SMARC P35 - SDIO_CD# */
	};

	/* SMARC SDIO_PWR_EN */
	pinctrl_usdhc2_pwr_en: usdhc2pwrengrp {
		fsl,pins = <MX8MP_IOMUXC_SD2_RESET_B__GPIO2_IO19	0x1c4>; /* SMARC P37 - SDIO_PWR_EN */
	};

	/* SMARC SDIO Sleep - Avoid backfeeding with removed card power */
	pinctrl_usdhc2_sleep: usdhc2slpgrp {
		fsl,pins = <MX8MP_IOMUXC_SD2_CLK__USDHC2_CLK		0x100>, /* SMARC P36 - SDIO_CK */
			   <MX8MP_IOMUXC_SD2_CMD__USDHC2_CMD		0x100>, /* SMARC P34 - SDIO_CMD */
			   <MX8MP_IOMUXC_SD2_DATA0__USDHC2_DATA0	0x100>, /* SMARC P39 - SDIO_DO */
			   <MX8MP_IOMUXC_SD2_DATA1__USDHC2_DATA1	0x100>, /* SMARC P39 - SDIO_D1 */
			   <MX8MP_IOMUXC_SD2_DATA2__USDHC2_DATA2	0x100>, /* SMARC P39 - SDIO_D2 */
			   <MX8MP_IOMUXC_SD2_DATA3__USDHC2_DATA3	0x100>; /* SMARC P39 - SDIO_D3 */
	};

	pinctrl_usdhc2_vsel: usdhc2vselgrp {
		fsl,pins = <MX8MP_IOMUXC_GPIO1_IO04__GPIO1_IO04	0x4>; /* PMIC_USDHC_VSELECT */
	};

	/* SMARC SDIO_WP */
	pinctrl_usdhc2_wp: usdhc2wpgrp {
		fsl,pins = <MX8MP_IOMUXC_SD2_WP__GPIO2_IO20	0x144>; /* SMARC P33 - SDIO_WP */
	};

	/* On-module eMMC */
	pinctrl_usdhc3: usdhc3grp {
		fsl,pins = <MX8MP_IOMUXC_NAND_CE1_B__USDHC3_STROBE	0x190>, /* eMMC_STROBE */
			   <MX8MP_IOMUXC_NAND_CE2_B__USDHC3_DATA5	0x1d0>, /* eMMC_DATA5 */
			   <MX8MP_IOMUXC_NAND_CE3_B__USDHC3_DATA6	0x1d0>, /* eMMC_DATA6 */
			   <MX8MP_IOMUXC_NAND_CLE__USDHC3_DATA7		0x1d0>, /* eMMC_DATA7 */
			   <MX8MP_IOMUXC_NAND_DATA04__USDHC3_DATA0	0x1d0>, /* eMMC_DATA0 */
			   <MX8MP_IOMUXC_NAND_DATA05__USDHC3_DATA1	0x1d0>, /* eMMC_DATA1 */
			   <MX8MP_IOMUXC_NAND_DATA06__USDHC3_DATA2	0x1d0>, /* eMMC_DATA2 */
			   <MX8MP_IOMUXC_NAND_DATA07__USDHC3_DATA3	0x1d0>, /* eMMC_DATA3 */
			   <MX8MP_IOMUXC_NAND_RE_B__USDHC3_DATA4	0x1d0>, /* eMMC_DATA4 */
			   <MX8MP_IOMUXC_NAND_WE_B__USDHC3_CLK		0x190>, /* eMMC_CLK */
			   <MX8MP_IOMUXC_NAND_WP_B__USDHC3_CMD		0x1d0>; /* eMMC_CMD */
	};

	/* On-module eMMC */
	pinctrl_usdhc3_100mhz: usdhc3-100mhzgrp {
		fsl,pins = <MX8MP_IOMUXC_NAND_CE1_B__USDHC3_STROBE	0x194>, /* eMMC_STROBE */
			   <MX8MP_IOMUXC_NAND_CE2_B__USDHC3_DATA5	0x1d4>, /* eMMC_DATA5 */
			   <MX8MP_IOMUXC_NAND_CE3_B__USDHC3_DATA6	0x1d4>, /* eMMC_DATA6 */
			   <MX8MP_IOMUXC_NAND_CLE__USDHC3_DATA7		0x1d4>, /* eMMC_DATA7 */
			   <MX8MP_IOMUXC_NAND_DATA04__USDHC3_DATA0	0x1d4>, /* eMMC_DATA0 */
			   <MX8MP_IOMUXC_NAND_DATA05__USDHC3_DATA1	0x1d4>, /* eMMC_DATA1 */
			   <MX8MP_IOMUXC_NAND_DATA06__USDHC3_DATA2	0x1d4>, /* eMMC_DATA2 */
			   <MX8MP_IOMUXC_NAND_DATA07__USDHC3_DATA3	0x1d4>, /* eMMC_DATA3 */
			   <MX8MP_IOMUXC_NAND_RE_B__USDHC3_DATA4	0x1d4>, /* eMMC_DATA4 */
			   <MX8MP_IOMUXC_NAND_WE_B__USDHC3_CLK		0x194>, /* eMMC_CLK */
			   <MX8MP_IOMUXC_NAND_WP_B__USDHC3_CMD		0x1d4>; /* eMMC_CMD */
	};

	/* On-module eMMC */
	pinctrl_usdhc3_200mhz: usdhc3-200mhzgrp {
		fsl,pins = <MX8MP_IOMUXC_NAND_CE1_B__USDHC3_STROBE	0x196>, /* eMMC_STROBE */
			   <MX8MP_IOMUXC_NAND_CE2_B__USDHC3_DATA5	0x1d2>, /* eMMC_DATA5 */
			   <MX8MP_IOMUXC_NAND_CE3_B__USDHC3_DATA6	0x1d2>, /* eMMC_DATA6 */
			   <MX8MP_IOMUXC_NAND_CLE__USDHC3_DATA7		0x1d2>, /* eMMC_DATA7 */
			   <MX8MP_IOMUXC_NAND_DATA04__USDHC3_DATA0	0x1d2>, /* eMMC_DATA0 */
			   <MX8MP_IOMUXC_NAND_DATA05__USDHC3_DATA1	0x1d2>, /* eMMC_DATA1 */
			   <MX8MP_IOMUXC_NAND_DATA06__USDHC3_DATA2	0x1d2>, /* eMMC_DATA2 */
			   <MX8MP_IOMUXC_NAND_DATA07__USDHC3_DATA3	0x1d2>, /* eMMC_DATA3 */
			   <MX8MP_IOMUXC_NAND_RE_B__USDHC3_DATA4	0x1d2>, /* eMMC_DATA4 */
			   <MX8MP_IOMUXC_NAND_WE_B__USDHC3_CLK		0x196>, /* eMMC_CLK */
			   <MX8MP_IOMUXC_NAND_WP_B__USDHC3_CMD		0x1d6>; /* eMMC_CMD */
	};

	/* SoC Watchdog */
	pinctrl_wdog: wdoggrp {
		fsl,pins = <MX8MP_IOMUXC_GPIO1_IO02__WDOG1_WDOG_B	0x4>; /* CTRL_SOC_WDOG */
	};

	/* On-module Wi-Fi power enable */
	pinctrl_wifi_pwr_en: wifipwrengrp {
		fsl,pins = <MX8MP_IOMUXC_NAND_DQS__GPIO3_IO14	0x104>; /* CTRL_EN_WIFI */
	};
};
